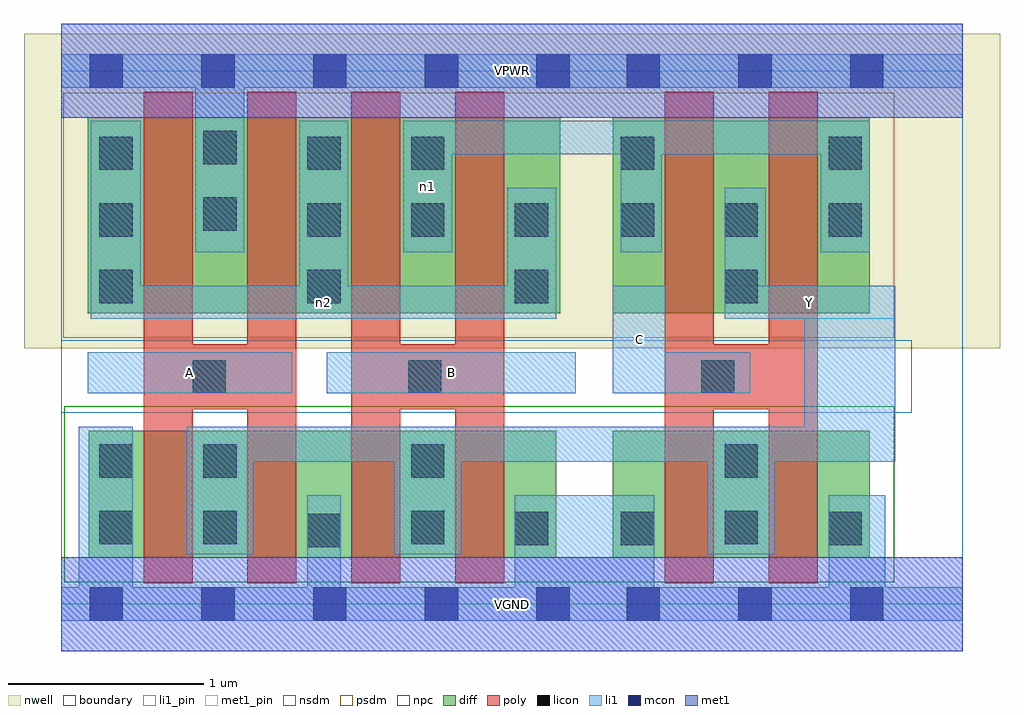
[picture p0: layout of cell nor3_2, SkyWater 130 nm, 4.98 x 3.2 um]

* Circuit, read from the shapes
.subckt nor3_2 A B C VGND VPWR Y n1 n2
XM1 Y A VGND VSUBS sky130_fd_pr__nfet_01v8 w=0.65 l=0.25 m=2
XM2 Y B VGND VSUBS sky130_fd_pr__nfet_01v8 w=0.65 l=0.25 m=2
XM3 Y C VGND VSUBS sky130_fd_pr__nfet_01v8 w=0.65 l=0.25 m=2
XM4 VPWR A n2 n3 sky130_fd_pr__pfet_01v8 w=1 l=0.25 m=2
XM5 n1 B n2 n3 sky130_fd_pr__pfet_01v8 w=1 l=0.25 m=2
XM6 Y C n1 n3 sky130_fd_pr__pfet_01v8 w=1 l=0.25 m=2
.ends

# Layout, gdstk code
import gdstk
lib = gdstk.Library(unit=1e-6, precision=1e-09)
def R(c, l, rs):  # rectangles x0, y0, x1, y1
    for r in rs: c.add(gdstk.rectangle(r[:2], r[2:], *l))
def A(c, l, x, y, w, h, nx, ny, dx, dy):  # array of equal rectangles
    R(c, l, [(x+i*dx, y+j*dy, x+i*dx+w, y+j*dy+h) for i in range(nx) for j in range(ny)])
nwell = (64, 20)
diff = (65, 20)
poly = (66, 20)
licon = (66, 44)
li1_pin = (67, 16)
li1 = (67, 20)
mcon = (67, 44)
met1_pin = (68, 16)
met1 = (68, 20)
nsdm = (93, 44)
psdm = (94, 20)
npc = (95, 20)
boundary = (235, 4)

nor3_2 = lib.new_cell('nor3_2')
R(nor3_2, nwell, [(-0.19,1.305,4.79,2.91), (0,1.305,4.6,2.91)])
R(nor3_2, diff, [(0.14,0.235,2.525,0.885), (2.815,0.235,4.125,0.885), (0.135,1.485,2.545,2.485), (2.815,1.485,4.125,2.485)])
A(nor3_2, poly, 0.42, 0.105, 0.25, 2.51, 4, 1, 0.53, 0)
R(nor3_2, poly, [(3.08,0.105,3.33,2.615), (3.61,0.105,3.86,2.615), (0.42,0.995,1.2,1.325), (1.48,0.995,2.26,1.325), (3.08,0.995,3.86,1.325)])
A(nor3_2, licon, 0.195, 1.535, 0.17, 0.17, 3, 1, 1.06, 0)
A(nor3_2, licon, 1.255, 1.875, 0.17, 0.17, 3, 1, 0.53, 0)
A(nor3_2, licon, 2.855, 1.875, 0.17, 0.17, 3, 1, 0.53, 0)
R(nor3_2, licon, [(1.255,0.29,1.425,0.46), (2.315,0.3,2.485,0.47), (2.855,0.3,3.025,0.47), (3.915,0.3,4.085,0.47), (0.195,0.305,0.365,0.475), (0.725,0.305,0.895,0.475), (1.785,0.305,1.955,0.475), (3.385,0.305,3.555,0.475), (0.195,0.645,0.365,0.815), (0.725,0.645,0.895,0.815), (1.785,0.645,1.955,0.815), (3.385,0.645,3.555,0.815), (0.67,1.075,0.84,1.245), (1.77,1.075,1.94,1.245), (3.265,1.075,3.435,1.245), (3.385,1.535,3.555,1.705), (0.195,1.875,0.365,2.045), (0.725,1.905,0.895,2.075), (0.195,2.215,0.365,2.385), (1.255,2.215,1.425,2.385), (1.785,2.215,1.955,2.385), (2.855,2.215,3.025,2.385), (3.915,2.215,4.085,2.385), (0.725,2.245,0.895,2.415)])
R(nor3_2, li1_pin, [(0.135,1.075,1.18,1.285), (1.355,1.075,2.625,1.285), (2.815,1.075,3.085,1.625), (3.385,1.455,4.255,1.625)])
R(nor3_2, li1, [(0,-0.085,4.6,0.085), (0.09,-0.085,0.365,0.905), (1.255,-0.085,1.425,0.555), (2.315,-0.085,3.025,0.555), (3.915,-0.085,4.205,0.555), (0.64,0.255,0.98,0.905), (1.7,0.255,2.04,0.905), (3.3,0.255,3.64,0.905), (0.64,0.725,4.255,0.905), (3.79,0.725,4.255,1.625), (0.135,1.075,1.18,1.285), (1.355,1.075,2.625,1.285), (2.815,1.075,3.085,1.625), (2.815,1.075,3.515,1.285), (0.15,1.455,2.525,1.625), (0.15,1.455,0.405,2.465), (1.215,1.455,1.465,2.465), (2.275,1.455,2.525,2.125), (3.385,1.455,3.595,2.125), (3.385,1.455,4.255,1.625), (0.685,1.795,0.935,2.805), (1.745,1.795,1.995,2.465), (2.855,1.795,3.065,2.465), (3.875,1.795,4.125,2.465), (1.745,2.295,4.125,2.465), (0,2.635,4.6,2.805)])
A(nor3_2, mcon, 0.145, -0.085, 0.17, 0.17, 5, 2, 0.57, 2.72)
A(nor3_2, mcon, 2.885, -0.085, 0.17, 0.17, 3, 2, 0.57, 2.72)
R(nor3_2, met1_pin, [(0,-0.24,4.6,0.24), (0,2.48,4.6,2.96)])
R(nor3_2, met1, [(0,-0.24,4.6,0.24), (0,2.48,4.6,2.96)])
R(nor3_2, nsdm, [(0.015,0.11,4.25,1.01)])
R(nor3_2, psdm, [(0.01,1.36,4.25,2.61)])
R(nor3_2, npc, [(0,0.975,4.34,1.345)])
R(nor3_2, boundary, [(0,0,4.6,2.72)])
nor3_2.add(gdstk.Label('A', (0.657,1.18), layer=67, texttype=5))
nor3_2.add(gdstk.Label('B', (1.99,1.18), layer=67, texttype=5))
nor3_2.add(gdstk.Label('C', (2.95,1.35), layer=67, texttype=5))
nor3_2.add(gdstk.Label('Y', (3.82,1.54), layer=67, texttype=5))
nor3_2.add(gdstk.Label('n2', (1.337,1.54), layer=67, texttype=5))
nor3_2.add(gdstk.Label('n1', (1.87,2.13), layer=67, texttype=5))
nor3_2.add(gdstk.Label('VPWR', (2.3,2.72), layer=68, texttype=5))
nor3_2.add(gdstk.Label('VGND', (2.3,0), layer=68, texttype=5))
nor3_2.add(gdstk.Label('A', (0.657,1.18), layer=67, texttype=16))
nor3_2.add(gdstk.Label('B', (1.99,1.18), layer=67, texttype=16))
nor3_2.add(gdstk.Label('C', (2.95,1.35), layer=67, texttype=16))
nor3_2.add(gdstk.Label('Y', (3.82,1.54), layer=67, texttype=16))
nor3_2.add(gdstk.Label('VPWR', (2.3,2.72), layer=68, texttype=16))
nor3_2.add(gdstk.Label('VGND', (2.3,0), layer=68, texttype=16))

lib.write_gds('nor3_2.gds')
